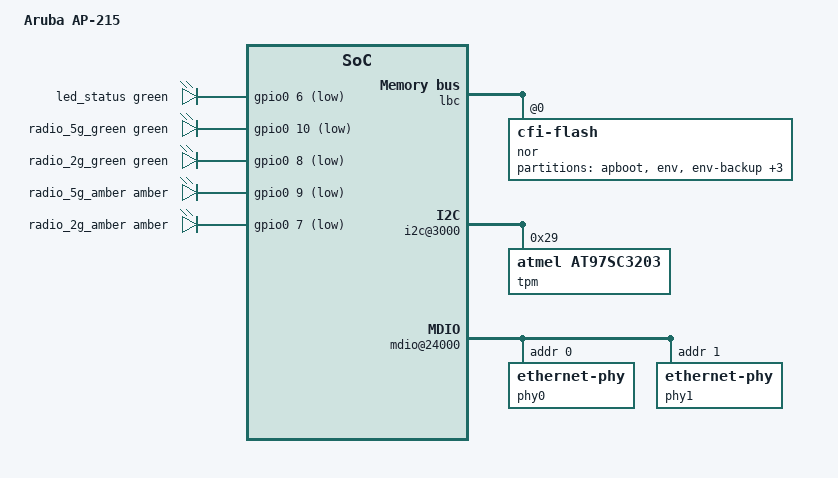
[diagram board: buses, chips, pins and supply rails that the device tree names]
// SPDX-License-Identifier: GPL-2.0-or-later or MIT
//
// Aruba AP-215 Device Tree Source
// Internal codename: Ardmore
//
// SoC: Freescale P1020 (dual-core e500v2)
// WiFi: 2x QCA988x (ath10k) on PCIe
// Flash: 32 MB NOR (CFI) on eLBC
// Ethernet: 2x eTSEC (SGMII)
// TPM: Atmel AT97SC3203 on I2C
// Serial: 9600 baud

#include <dt-bindings/input/input.h>
#include <dt-bindings/gpio/gpio.h>
#include <dt-bindings/leds/common.h>

/include/ "fsl/p1020si-pre.dtsi"
/ {
	model = "Aruba AP-215";
	compatible = "aruba,ap-215";

	aliases {
		led-boot = &led_status;
		led-failsafe = &led_status;
		led-running = &led_status;
		led-upgrade = &led_status;
		label-mac-device = &enet1;
	};

	chosen {
		bootargs = "console=ttyS0,9600";
		stdout-path = &serial0;
	};

	memory {
		device_type = "memory";
	};

	lbc: localbus@ffe05000 {
		reg = <0 0xffe05000 0 0x1000>;
		ranges = <0x0 0x0 0x0 0xee000000 0x2000000>;

		nor@0,0 {
			compatible = "cfi-flash";
			reg = <0x0 0x0 0x2000000>;
			bank-width = <2>;
			device-width = <1>;

			partitions {
				compatible = "fixed-partitions";
				#address-cells = <1>;
				#size-cells = <1>;

				/*
				 * Partition layout needs verification from
				 * a live serial console session (cat /proc/mtd).
				 * Typical Aruba NOR layout for Ardmore:
				 *   apboot, env, env_backup, image0, image1, mfg
				 *
				 * Placeholder layout below - adjust offsets
				 * once confirmed from device.
				 */
				partition@0 {
					reg = <0x0 0x100000>;
					label = "apboot";
					read-only;
				};

				partition@100000 {
					reg = <0x100000 0x80000>;
					label = "env";
				};

				partition@180000 {
					reg = <0x180000 0x80000>;
					label = "env-backup";
				};

				partition@200000 {
					reg = <0x200000 0xe00000>;
					label = "image0";
				};

				partition@1000000 {
					reg = <0x1000000 0xe00000>;
					label = "image1";
				};

				partition@1e00000 {
					reg = <0x1e00000 0x200000>;
					label = "mfg";
					read-only;

					nvmem-layout {
						compatible = "fixed-layout";
						#address-cells = <1>;
						#size-cells = <1>;

						/*
						 * MAC address offset TBD -
						 * needs reverse engineering of
						 * manufacturing partition format.
						 */
					};
				};
			};
		};
	};

	soc: soc@ffe00000 {
		ranges = <0x0 0x0 0xffe00000 0x100000>;

		i2c@3000 {
			tpm@29 {
				compatible = "atmel,at97sc3203";
				reg = <0x29>;
			};
		};

		gpio0: gpio-controller@fc00 {
		};

		mdio@24000 {
			phy0: ethernet-phy@0 {
				reg = <0x0>;
			};

			phy1: ethernet-phy@1 {
				reg = <0x1>;
			};
		};

		mdio@25000 {
			status = "disabled";
		};

		mdio@26000 {
			status = "disabled";
		};

		ethernet@b0000 {
			status = "disabled";
		};

		ethernet@b1000 {
			phy-handle = <&phy0>;
			phy-connection-type = "sgmii";
		};

		ethernet@b2000 {
			phy-handle = <&phy1>;
			phy-connection-type = "sgmii";
		};

		usb@22000 {
			phy_type = "ulpi";
			dr_mode = "host";
		};

		usb@23000 {
			status = "disabled";
		};
	};

	pci0: pcie@ffe09000 {
		reg = <0 0xffe09000 0 0x1000>;
		ranges = <0x2000000 0x0 0xa0000000 0 0xa0000000 0x0 0x20000000
			  0x1000000 0x0 0x00000000 0 0xffc10000 0x0 0x10000>;
		pcie@0 {
			ranges = <0x2000000 0x0 0xa0000000
				  0x2000000 0x0 0xa0000000
				  0x0 0x20000000

				  0x1000000 0x0 0x0
				  0x1000000 0x0 0x0
				  0x0 0x100000>;

			wifi@0,0 {
				reg = <0x0000 0 0 0 0>;
			};
		};
	};

	pci1: pcie@ffe0a000 {
		reg = <0 0xffe0a000 0 0x1000>;
		ranges = <0x2000000 0x0 0x80000000 0 0x80000000 0x0 0x20000000
			  0x1000000 0x0 0x00000000 0 0xffc00000 0x0 0x10000>;
		pcie@0 {
			ranges = <0x2000000 0x0 0x80000000
				  0x2000000 0x0 0x80000000
				  0x0 0x20000000

				  0x1000000 0x0 0x0
				  0x1000000 0x0 0x0
				  0x0 0x100000>;

			wifi@0,0 {
				reg = <0x0000 0 0 0 0>;
			};
		};
	};

	leds {
		compatible = "gpio-leds";

		led_status: status {
			gpios = <&gpio0 6 GPIO_ACTIVE_LOW>;
			color = <LED_COLOR_ID_GREEN>;
			function = LED_FUNCTION_STATUS;
			default-state = "on";
		};

		radio_5g_green {
			gpios = <&gpio0 10 GPIO_ACTIVE_LOW>;
			color = <LED_COLOR_ID_GREEN>;
			function = LED_FUNCTION_WLAN;
			function-enumerator = <0>;
			linux,default-trigger = "phy0tpt";
		};

		radio_2g_green {
			gpios = <&gpio0 8 GPIO_ACTIVE_LOW>;
			color = <LED_COLOR_ID_GREEN>;
			function = LED_FUNCTION_WLAN;
			function-enumerator = <1>;
			linux,default-trigger = "phy1tpt";
		};

		radio_5g_amber {
			gpios = <&gpio0 9 GPIO_ACTIVE_LOW>;
			color = <LED_COLOR_ID_AMBER>;
			function = LED_FUNCTION_WLAN;
			function-enumerator = <0>;
		};

		radio_2g_amber {
			gpios = <&gpio0 7 GPIO_ACTIVE_LOW>;
			color = <LED_COLOR_ID_AMBER>;
			function = LED_FUNCTION_WLAN;
			function-enumerator = <1>;
		};
	};
};
/include/ "fsl/p1020si-post.dtsi"
